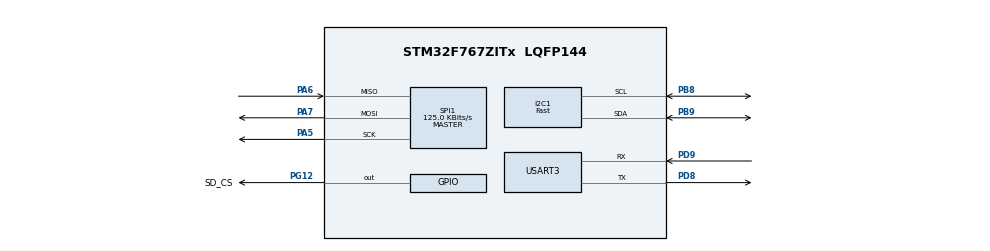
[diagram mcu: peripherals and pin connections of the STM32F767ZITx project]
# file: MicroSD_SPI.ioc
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FATFS._MAX_SS=512
FATFS._MULTI_PARTITION=1
FATFS._VOLUMES=4
I2C1.I2C_Speed_Mode=I2C_Fast
I2C1.Timing=0x0010061A
Mcu.Family=STM32F7
Mcu.Name=STM32F767ZITx
Mcu.Package=LQFP144
NVIC.PriorityGroup=NVIC_PRIORITYGROUP_4
PA5.Mode=Full_Duplex_Master
PA5.Signal=SPI1_SCK
PA6.Mode=Full_Duplex_Master
PA6.Signal=SPI1_MISO
PA7.Mode=Full_Duplex_Master
PA7.Signal=SPI1_MOSI
PB13.Signal=SPI2_SCK
PB8.Mode=I2C
PB8.Signal=I2C1_SCL
PB9.Mode=I2C
PB9.Signal=I2C1_SDA
PD8.Mode=Asynchronous
PD8.Signal=USART3_TX
PD9.Mode=Asynchronous
PD9.Signal=USART3_RX
PG12.GPIO_Label=SD_CS
PG12.Signal=GPIO_Output
ProjectManager.HeapSize=0x200
ProjectManager.StackSize=0x400
ProjectManager.TargetToolchain=STM32CubeIDE
RCC.HSE_VALUE=25000000
RCC.HSI_VALUE=16000000
RCC.LSE_VALUE=32768
RCC.USBFreq_Value=96000000
RCC.VCOOutputFreq_Value=192000000
SPI1.BaudRatePrescaler=SPI_BAUDRATEPRESCALER_128
SPI1.CalculateBaudRate=125.0 KBits/s
SPI1.DataSize=SPI_DATASIZE_8BIT
SPI1.Direction=SPI_DIRECTION_2LINES
SPI1.Mode=SPI_MODE_MASTER
SPI1.VirtualType=VM_MASTER
USART3.VirtualMode-Asynchronous=VM_ASYNC
VP_FATFS_VS_Generic.Mode=User_defined
board=custom

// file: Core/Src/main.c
/* USER CODE BEGIN Header */
/**
  ******************************************************************************
  * @file           : main.c
  * @brief          : Main program body
  ******************************************************************************
  * @attention
  *
  * <h2><center>&copy; Copyright (c) 2022 STMicroelectronics.
  * All rights reserved.</center></h2>
  *
  * This software component is licensed by ST under BSD 3-Clause license,
  * the "License"; You may not use this file except in compliance with the
  * License. You may obtain a copy of the License at:
  *                        opensource.org/licenses/BSD-3-Clause
  *
  ******************************************************************************
  */
/* USER CODE END Header */
#include "main.h"
#include "fatfs.h"
#include "i2c.h"
#include "spi.h"
#include "usart.h"
#include "gpio.h"

/* USER CODE BEGIN Includes */
#include <stdio.h>
#include <string.h>
#include <stdarg.h>
#include "MPU9250.h"
/* USER CODE END Includes */

void SystemClock_Config(void);
/* USER CODE BEGIN PFP */
void myprintf(const char *fmt, ...);
/* USER CODE END PFP */

/* USER CODE BEGIN 0 */
int __io_putchar(int ch)
{
    HAL_UART_Transmit(&huart3, (uint8_t*)&ch, 1, HAL_MAX_DELAY);
    return 1;
}

struct imu_9dof
{
	int16_t acc_data[3];
	int16_t mag_data[3];
	int16_t gyro_data[3];
};

struct imu_9dof_calc
{
	double acc_data_calc[3];
	double gyro_data_calc[3];
};

void imu_9dof_convert(struct imu_9dof * input, struct imu_9dof_calc * output)
{
	output->acc_data_calc[0] = (double) input->acc_data[0] / 16384;
	output->acc_data_calc[1] = (double) input->acc_data[1] / 16384;
	output->acc_data_calc[2] = (double) input->acc_data[2] / 16384;
	output->gyro_data_calc[0] = (double) input->gyro_data[0] * 250 / 32768;
	output->gyro_data_calc[1] = (double) input->gyro_data[1] * 250 / 32768;
	output->gyro_data_calc[2] = (double) input->gyro_data[2] * 250 / 32768;
}

void imu_9dof_get_data(struct imu_9dof * imu_9dof_data, struct imu_9dof_calc * imu_9dof_calculated)
{
    MPU9250_GetData(imu_9dof_data->acc_data, imu_9dof_data->mag_data, imu_9dof_data->gyro_data);
    imu_9dof_convert(imu_9dof_data, imu_9dof_calculated);
}

void myprintf(const char *fmt, ...) {
  static char buffer[256];
  va_list args;
  va_start(args, fmt);
  vsnprintf(buffer, sizeof(buffer), fmt, args);
  va_end(args);

  int len = strlen(buffer);
  HAL_UART_Transmit(&huart3, (uint8_t*)buffer, len, -1);

}
/* USER CODE END 0 */

int main(void)
{

  /* MCU Configuration--------------------------------------------------------*/

  /* Reset of all peripherals, Initializes the Flash interface and the Systick. */
  HAL_Init();

  /* Configure the system clock */
  SystemClock_Config();

  /* Initialize all configured peripherals */
  MX_GPIO_Init();
  MX_SPI1_Init();
  MX_FATFS_Init();
  MX_USART3_UART_Init();
  MX_I2C1_Init();
  /* USER CODE BEGIN 2 */
  struct imu_9dof imu_9dof_data;
  struct imu_9dof_calc imu_9dof_calculated;
char testdata[255] ;
  UINT test_byte;

    HAL_Delay(2500); //a short delay is important to let the SD card settle

    //some variables for FatFs
    FATFS FatFs; 	//Fatfs handle
    FIL fil; 		//File handle
    FRESULT fres; //Result after operations

    //Open the file system
    fres = f_mount(&FatFs, "", 1); //1=mount now
    if (fres == FR_OK) {
      char path[] = "TEST.TXT\0";
	  f_open(&fil, path, FA_WRITE | FA_CREATE_ALWAYS);

	  char test_data[] = "GYRO_X,GYRO_Y,GYRO_Z,ACC_X,ACC_Y,ACC_Z \r\n";
	  f_write(&fil, test_data, sizeof(test_data), &test_byte);
	  f_close(&fil);
    }

  /* USER CODE END 2 */

  /* Infinite loop */
  while (1)
  {
	  char path[] = "TEST.TXT\0";
	  f_open(&fil, path, FA_WRITE | FA_OPEN_APPEND);
    /* USER CODE BEGIN 3 */
	imu_9dof_get_data(&imu_9dof_data, &imu_9dof_calculated);
	for (int i = 0; i < 3; i++)
	{
		sprintf(testdata, "%f,", imu_9dof_calculated.gyro_data_calc[i]);
		  f_write(&fil, testdata, strlen(testdata), &test_byte);
		printf("%f ", imu_9dof_calculated.gyro_data_calc[i]);
	}
	for (int i = 0; i < 3; i++)
	{
		sprintf(testdata, "%f,", imu_9dof_calculated.gyro_data_calc[i]);
		  f_write(&fil, testdata, strlen(testdata), &test_byte);
		printf("%f ", imu_9dof_calculated.acc_data_calc[i]);
	}
	sprintf(testdata, "\r\n ");

	f_write(&fil, testdata, strlen(testdata), &test_byte);
	printf("\r\n");

	  f_close(&fil);

	HAL_Delay(1000);

  }
  /* USER CODE END 3 */
}

void SystemClock_Config(void)
{
  RCC_OscInitTypeDef RCC_OscInitStruct = {0};
  RCC_ClkInitTypeDef RCC_ClkInitStruct = {0};
  RCC_PeriphCLKInitTypeDef PeriphClkInitStruct = {0};

  /** Configure the main internal regulator output voltage
  */
  __HAL_RCC_PWR_CLK_ENABLE();
  __HAL_PWR_VOLTAGESCALING_CONFIG(PWR_REGULATOR_VOLTAGE_SCALE3);
  /** Initializes the RCC Oscillators according to the specified parameters
  * in the RCC_OscInitTypeDef structure.
  */
  RCC_OscInitStruct.OscillatorType = RCC_OSCILLATORTYPE_HSI;
  RCC_OscInitStruct.HSIState = RCC_HSI_ON;
  RCC_OscInitStruct.HSICalibrationValue = RCC_HSICALIBRATION_DEFAULT;
  RCC_OscInitStruct.PLL.PLLState = RCC_PLL_NONE;
  if (HAL_RCC_OscConfig(&RCC_OscInitStruct) != HAL_OK)
  {
    Error_Handler();
  }
  /** Initializes the CPU, AHB and APB buses clocks
  */
  RCC_ClkInitStruct.ClockType = RCC_CLOCKTYPE_HCLK|RCC_CLOCKTYPE_SYSCLK
                              |RCC_CLOCKTYPE_PCLK1|RCC_CLOCKTYPE_PCLK2;
  RCC_ClkInitStruct.SYSCLKSource = RCC_SYSCLKSOURCE_HSI;
  RCC_ClkInitStruct.AHBCLKDivider = RCC_SYSCLK_DIV1;
  RCC_ClkInitStruct.APB1CLKDivider = RCC_HCLK_DIV1;
  RCC_ClkInitStruct.APB2CLKDivider = RCC_HCLK_DIV1;

  if (HAL_RCC_ClockConfig(&RCC_ClkInitStruct, FLASH_LATENCY_0) != HAL_OK)
  {
    Error_Handler();
  }
  PeriphClkInitStruct.PeriphClockSelection = RCC_PERIPHCLK_USART3|RCC_PERIPHCLK_I2C1;
  PeriphClkInitStruct.Usart3ClockSelection = RCC_USART3CLKSOURCE_PCLK1;
  PeriphClkInitStruct.I2c1ClockSelection = RCC_I2C1CLKSOURCE_PCLK1;
  if (HAL_RCCEx_PeriphCLKConfig(&PeriphClkInitStruct) != HAL_OK)
  {
    Error_Handler();
  }
}

void Error_Handler(void)
{
  __disable_irq();
  while (1)
  {
  }
}

/************************ (C) COPYRIGHT STMicroelectronics *****END OF FILE****/
